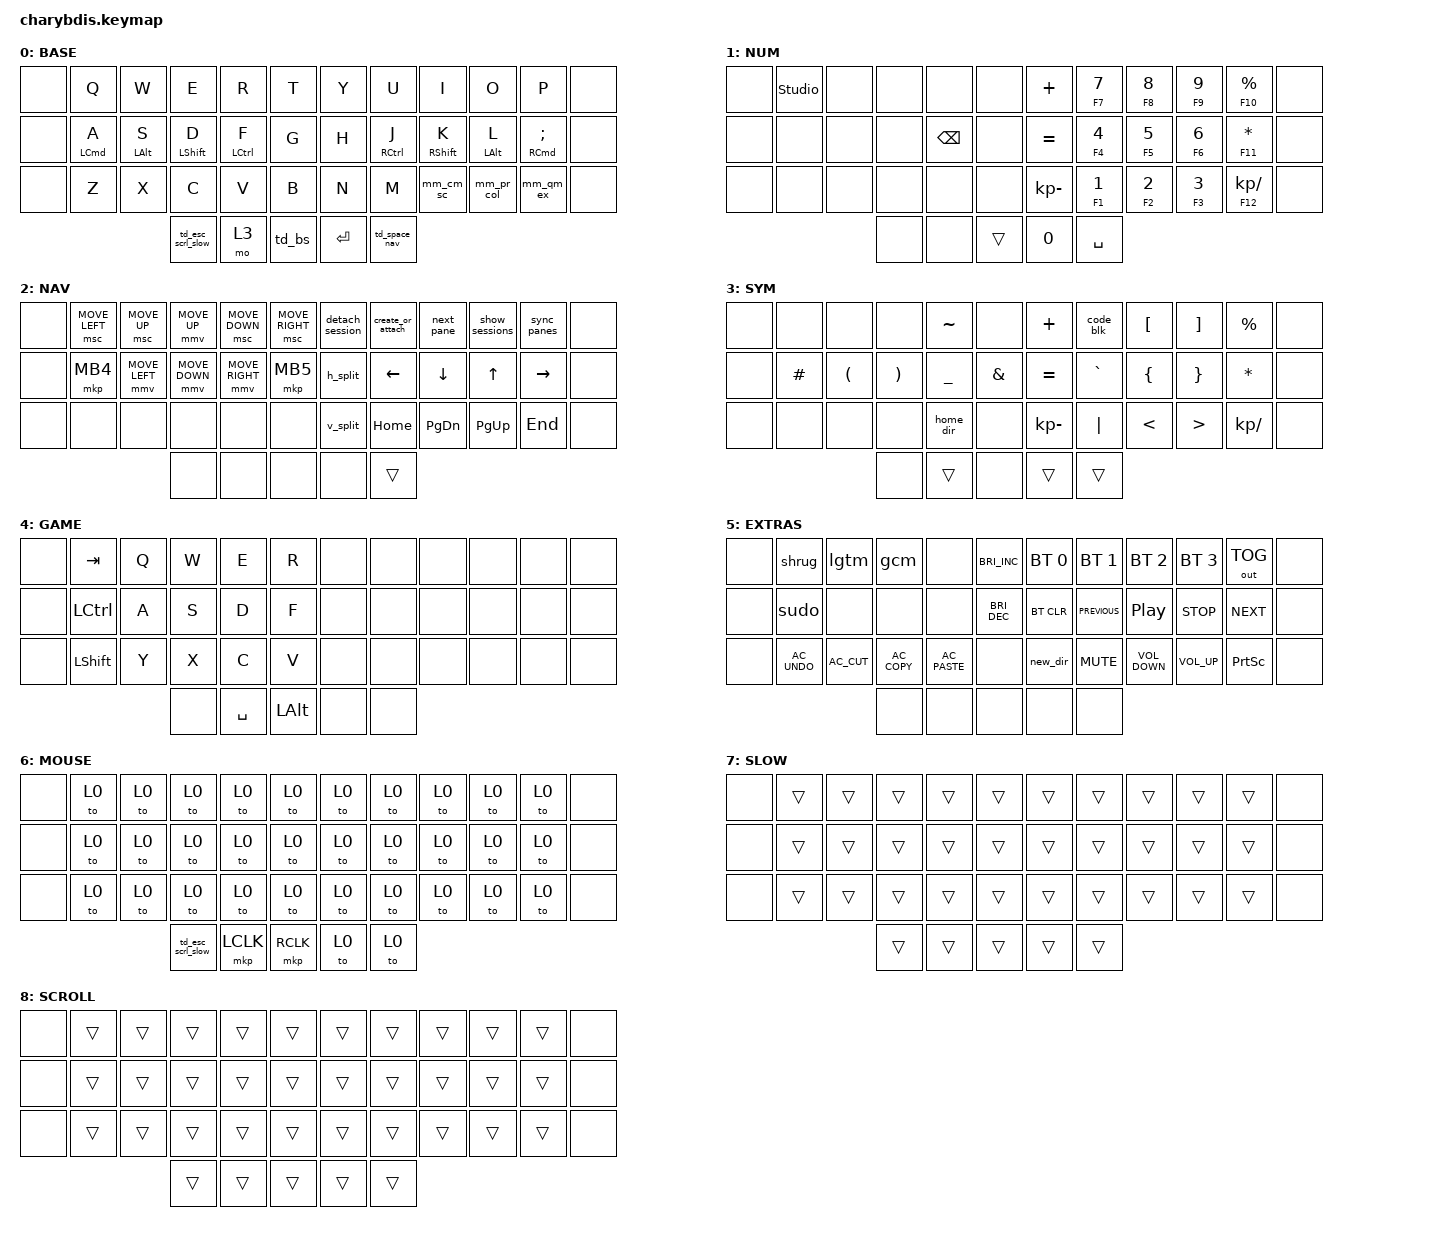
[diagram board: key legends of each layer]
/* upstream bindings and behaviors */

#include <dt-bindings/zmk/mouse.h>
#include <behaviors/mouse_keys.dtsi>
#include <behaviors.dtsi>
#include <dt-bindings/zmk/bt.h>
#include <dt-bindings/zmk/keys.h>
#include <dt-bindings/zmk/outputs.h>
#include <dt-bindings/zmk/pointing.h>

#define KEYS_L 0 1 2 3 4 5 12 13 14 15 16 17 24 25 26 27 28 29 36 37 38 19 20 21 22  // Left-hand keys.
#define KEYS_R 6 7 8 9 10 11 18 19 20 21 22 23 30 31 32 33 34 35 39 40 16 15 14 13  // Right-hand keys.
#define THUMBS 36 37 38 39 40  // Thumb keys.

/ {
    /* --- KEYMAP CONFIG --- */
    // ╭──────┬──────┬──────┬──────┬──────┬──────╮  ╭──────┬──────┬──────┬──────┬──────┬──────╮
    //    00     01     02     03    04      05        06     07     08     09     10     11
    // ├──────┼──────┼──────┼──────┼──────┼──────┤  ├──────┼──────┼──────┼──────┼──────┼──────┤
    //    12     13     14     15    16      17        18     19     20     21     22     23
    // ├──────┼──────┼──────┼──────┼──────┼──────┤  ├──────┼──────┼──────┼──────┼──────┼──────┤
    //    24     25     26     27    28      29        30     31     32     33     34     35
    // ╰──────┴──────┴──────┼──────┼──────┼──────┤  ├──────┼──────┼──────┴──────┴──────┴──────╯
    //                         36     37     38        39     40
    //                      ╰──────┴──────┴──────╯  ╰──────┴──────╯
    // #define BASE    0
    // #define NUM     1
    // #define NAV     2
    // #define SYM     3
    // #define GAME    4
    // #define EXTRAS  5
    // #define MOUSE   6
    // #define SLOW    7
    // #define SCROLL  8

    combos {
        compatible = "zmk,combos";

        CapsWord {
            bindings = <&caps_word>;
            key-positions = <17 18>;
            layers = <0>;
        };

        combo_BASE_or_EXTRAS {
            bindings = <&td_bore>;
            key-positions = <38 39>;
        };

        combo_left_click {
            bindings = <&mkp LCLK>;
            key-positions = <25 26>;
        };

        combo_middle_click {
            bindings = <&mkp MCLK>;
            key-positions = <26 27>;
        };

        combo_right_click {
            bindings = <&mkp RCLK>;
            key-positions = <27 28>;
        };

        combo_mouse_layer {
            bindings = <&to 6>;
            key-positions = <13 22>;
        };
    };

    behaviors {
        ht_num_func: homerow_mod {
            compatible = "zmk,behavior-hold-tap";
            #binding-cells = <2>;
            flavor = "tap-preferred";
            tapping-term-ms = <175>; // triggers the hold behavior when the tapping-term-ms has expired
            quick-tap-ms = <150>; // If you press a tapped hold-tap again within quick-tap-ms milliseconds of the first press, it will always trigger the tap behavior.
            require-prior-idle-ms = <185>; // like quick-tap-ms however it will apply for any non-modifier key pressed before it
            bindings = <&kp>, <&kp>;

            // hold, tap
        };

        // Left-hand HRM

        ht_left: left_side_homerow_mod {
            compatible = "zmk,behavior-hold-tap";
            #binding-cells = <2>;
            flavor = "balanced";
            tapping-term-ms = <280>;
            quick-tap-ms = <175>;
            require-prior-idle-ms = <150>;
            bindings = <&kp>, <&kp>;

            hold-trigger-key-positions = <KEYS_R THUMBS>;
            hold-trigger-on-release;
        };

        // Right-hand HRM

        ht_right: right_side_homerow_mod {
            compatible = "zmk,behavior-hold-tap";
            #binding-cells = <2>;
            flavor = "balanced";
            tapping-term-ms = <280>;
            quick-tap-ms = <175>;
            require-prior-idle-ms = <125>;
            bindings = <&kp>, <&kp>;

            hold-trigger-key-positions = <KEYS_L THUMBS>;
            hold-trigger-on-release;
        };

        td_esc_scrl_slow: td_esc_scrl_slow {
            compatible = "zmk,behavior-tap-dance";
            #binding-cells = <0>;
            tapping-term-ms = <125>;
            bindings = <&lt 8 ESC>, <&mo 7>;

            // hold, tap, double_tap
        };

        td_space_nav: td_space {
            compatible = "zmk,behavior-tap-dance";
            #binding-cells = <0>;
            tapping-term-ms = <120>;
            bindings = <&lt 2 SPACE>, <&kp SPACE>;

            // hold, tap, double_tap
        };

        td_bs: td_bs {
            compatible = "zmk,behavior-tap-dance";
            #binding-cells = <0>;
            tapping-term-ms = <115>;
            bindings = <&lt 1 BACKSPACE>, <&kp BACKSPACE>;

            // hold, tap, double_tap
        };

        httl: ht_two_layers {
            compatible = "zmk,behavior-hold-tap";
            bindings = <&mo>, <&to>;

            #binding-cells = <2>;
            flavor = "balanced";
            tapping-term-ms = <125>;
        };

        td_layers: td_layer_swap {
            compatible = "zmk,behavior-tap-dance";
            #binding-cells = <0>;
            bindings = <&to 0>, <&to 4>;

            // tap, double_tap
        };

        td_clk_scrl: td_click_or_scroll {
            compatible = "zmk,behavior-tap-dance";
            #binding-cells = <0>;
            tapping-term-ms = <250>;
            bindings = <&mkp RCLK>, <&mo 8>;

            // tap/hold, double_tap
        };

        td_bore: BASE_or_EXTRA {
            compatible = "zmk,behavior-tap-dance";
            #binding-cells = <0>;
            bindings = <&mo 5>, <&to 0>;
        };

        mm_qm_ex: question_exclamation {
            compatible = "zmk,behavior-mod-morph";
            #binding-cells = <0>;
            bindings = <&kp QUESTION>, <&kp EXCLAMATION>;

            mods = <(MOD_LSFT | MOD_RSFT)>;
        };

        mm_pr_col: period_colon {
            compatible = "zmk,behavior-mod-morph";
            #binding-cells = <0>;
            bindings = <&kp PERIOD>, <&kp COLON>;

            mods = <(MOD_LSFT | MOD_RSFT)>;
        };

        mm_cm_sc: comma_semi_colon {
            compatible = "zmk,behavior-mod-morph";
            #binding-cells = <0>;
            bindings = <&kp COMMA>, <&kp SEMICOLON>;

            mods = <(MOD_LSFT | MOD_RSFT)>;
        };
    };

    macros {
        v_split: v_split {
            compatible = "zmk,behavior-macro";
            #binding-cells = <0>;
            bindings = <&macro_tap>, <&kp LC(B) &kp PERCENT>;
        };

        h_split: h_split {
            compatible = "zmk,behavior-macro";
            #binding-cells = <0>;
            bindings = <&macro_tap>, <&kp LC(B) &kp DQT>;
        };

        detach_session: detach_session {
            compatible = "zmk,behavior-macro";
            #binding-cells = <0>;
            bindings = <&kp LC(B) &kp D>;
        };

        sync_panes: sync_panes {
            compatible = "zmk,behavior-macro";
            #binding-cells = <0>;
            bindings = <&kp LC(B) &kp SPACE>;
        };

        next_pane: next_pane {
            compatible = "zmk,behavior-macro";
            #binding-cells = <0>;
            bindings = <&kp LC(B) &kp O>;
        };

        show_sessions: show_sessions {
            compatible = "zmk,behavior-macro";
            #binding-cells = <0>;
            bindings = <&kp LC(B) &kp S>;
        };

        create_or_attach: create_or_attach {
            compatible = "zmk,behavior-macro";
            #binding-cells = <0>;
            bindings =
                <&macro_tap>,
                <&kp T>,
                <&macro_tap>,
                <&kp M>,
                <&macro_tap>,
                <&kp U>,
                <&macro_tap>,
                <&kp X>,
                <&macro_tap>,
                <&kp SPC>,
                <&macro_tap>,
                <&kp N>,
                <&macro_tap>,
                <&kp E>,
                <&macro_tap>,
                <&kp W>,
                <&macro_tap>,
                <&kp MINUS>,
                <&macro_tap>,
                <&kp S>,
                <&macro_tap>,
                <&kp E>,
                <&macro_tap>,
                <&kp S>,
                <&macro_tap>,
                <&kp S>,
                <&macro_tap>,
                <&kp I>,
                <&macro_tap>,
                <&kp O>,
                <&macro_tap>,
                <&kp N>,
                <&macro_tap>,
                <&kp SPC>,
                <&macro_tap>,
                <&kp MINUS>,
                <&macro_tap>,
                <&kp A>,
                <&macro_tap>,
                <&kp SPC>,
                <&macro_tap>,
                <&kp MINUS>,
                <&macro_tap>,
                <&kp S>,
                <&macro_tap>,
                <&kp SPC>;
        };

        shrug: shrug {
            compatible = "zmk,behavior-macro";
            #binding-cells = <0>;
            wait-ms = <10>;
            tap-ms = <20>;
            bindings =
                <&macro_press>,
                <&kp LCTRL &kp LSHFT>,
                <&macro_tap>,
                <&kp U>,
                <&macro_release>,
                <&kp LCTRL &kp LSHFT>,
                <&macro_tap>,
                <&kp N0 &kp N0 &kp A &kp F &kp SPC>,
                <&macro_tap>,
                <&kp BACKSLASH>,
                <&macro_tap>,
                <&kp UNDER>,
                <&macro_tap>,
                <&kp LPAR>,
                <&macro_press>,
                <&kp LCTRL &kp LSHFT>,
                <&macro_tap>,
                <&kp U>,
                <&macro_release>,
                <&kp LCTRL &kp LSHFT>,
                <&macro_tap>,
                <&kp N3 &kp N0 &kp C &kp N4 &kp SPC>,
                <&macro_tap>,
                <&kp RPAR>,
                <&macro_tap>,
                <&kp UNDER>,
                <&macro_tap>,
                <&kp FSLH>,
                <&macro_press>,
                <&kp LCTRL &kp LSHFT>,
                <&macro_tap>,
                <&kp U>,
                <&macro_release>,
                <&kp LCTRL &kp LSHFT>,
                <&macro_tap>,
                <&kp N0 &kp N0 &kp A &kp F &kp SPC>;
        };

        gcm: gcm {
            compatible = "zmk,behavior-macro";
            #binding-cells = <0>;
            wait-ms = <10>;
            tap-ms = <20>;
            bindings =
                <&macro_tap>,
                <&kp G &kp I &kp T &kp SPACE &kp C &kp O &kp M &kp M &kp I &kp T &kp SPACE &kp MINUS &kp A &kp M &kp SPACE &kp DQT &kp LS(W) &kp LS(I) &kp LS(P) &kp DQT>;
        };

        lgtm: lgtm {
            compatible = "zmk,behavior-macro";
            #binding-cells = <0>;
            wait-ms = <10>;
            tap-ms = <20>;
            bindings =
                <&macro_tap>,
                <&kp LS(L) &kp LS(G) &kp LS(T) &kp LS(M) &kp SPACE &kp MINUS &kp SPACE &kp LS(A) &kp P &kp P &kp R &kp O &kp V &kp E &kp D &kp EXCL>;
        };

        sudo: sudo {
            compatible = "zmk,behavior-macro";
            #binding-cells = <0>;
            wait-ms = <10>;
            tap-ms = <20>;
            bindings =
                <&macro_tap>,
                <&kp S &kp U &kp D &kp O>,
                <&macro_tap>,
                <&kp SPACE>,
                <&macro_tap>,
                <&kp EXCL &kp EXCL>,
                <&macro_tap>,
                <&kp RET>;
        };

        clip_hist: clip_hist {
            compatible = "zmk,behavior-macro";
            #binding-cells = <0>;
            bindings =
                <&macro_press>,
                <&kp LGUI>,
                <&macro_tap>,
                <&kp V>,
                <&macro_release>,
                <&kp LGUI>;
        };

        new_dir: new_dir {
            compatible = "zmk,behavior-macro";
            #binding-cells = <0>;
            bindings =
                <&macro_press>,
                <&kp LCTRL &kp LSHFT>,
                <&macro_tap>,
                <&kp N>,
                <&macro_release>,
                <&kp LCTRL &kp LSHFT>;
        };

        code_blk: code_blk {
            compatible = "zmk,behavior-macro";
            #binding-cells = <0>;
            bindings =
                <&macro_tap>,
                <&kp GRAVE>,
                <&macro_tap>,
                <&kp GRAVE>,
                <&macro_tap>,
                <&kp GRAVE>;
        };

        home_dir: home_dir {
            compatible = "zmk,behavior-macro";
            #binding-cells = <0>;
            bindings = <&macro_tap>, <&kp TILDE>, <&macro_tap>, <&kp FSLH>;
        };
    };

    keymap {
        compatible = "zmk,keymap";

        BASE {
            bindings = <
&none            &kp Q            &kp W            &kp E              &kp R             &kp T     &kp Y      &kp U              &kp I              &kp O             &kp P                     &none
&none            &ht_left LCMD A  &ht_left LALT S  &ht_left LSHFT D   &ht_left LCTRL F  &kp G     &kp H      &ht_right RCTRL J  &ht_right RSHFT K  &ht_right LALT L  &ht_right RCMD SEMICOLON  &none
&none            &kp Z            &kp X            &kp C              &kp V             &kp B     &kp N      &kp M              &mm_cm_sc          &mm_pr_col        &mm_qm_ex                 &none
                                                   &td_esc_scrl_slow  &mo 3             &td_bs    &kp ENTER  &td_space_nav
            >;
        };

        NUM {
            bindings = <
&none   &studio_unlock  &none  &none  &none          &none     &kp PLUS      &ht_num_func F7 N7  &ht_num_func F8 N8  &ht_num_func F9 N9  &ht_num_func F10 PRCNT     &none
&none   &none           &none  &none  &kp BACKSPACE  &none     &kp EQUAL     &ht_num_func F4 N4  &ht_num_func F5 N5  &ht_num_func F6 N6  &ht_num_func F11 ASTRK     &none
&none   &none           &none  &none  &none          &none     &kp KP_MINUS  &ht_num_func F1 N1  &ht_num_func F2 N2  &ht_num_func F3 N3  &ht_num_func F12 KP_SLASH  &none
                               &none  &none          &trans    &kp N0        &kp SPACE
            >;
        };

        NAV {
            bindings = <
&none    &msc MOVE_LEFT  &msc MOVE_UP    &mmv MOVE_UP    &msc MOVE_DOWN   &msc MOVE_RIGHT    &detach_session  &create_or_attach  &next_pane  &show_sessions  &sync_panes      &none
&none    &mkp MB4        &mmv MOVE_LEFT  &mmv MOVE_DOWN  &mmv MOVE_RIGHT  &mkp MB5           &h_split         &kp LEFT_ARROW     &kp DOWN    &kp UP          &kp RIGHT_ARROW  &none
&none    &none           &none           &none           &none            &none              &v_split         &kp HOME           &kp PG_DN   &kp PG_UP       &kp END          &none
                                         &none           &none            &none              &none            &trans
            >;
        };

        SYM {
            bindings = <
&none      &none     &none     &none     &kp TILDE  &none        &kp PLUS      &code_blk  &kp LBKT  &kp RBKT  &kp PRCNT     &none
&none      &kp HASH  &kp LPAR  &kp RPAR  &kp UNDER  &kp AMPS     &kp EQUAL     &kp GRAVE  &kp LBRC  &kp RBRC  &kp ASTRK     &none
&none      &none     &none     &none     &home_dir  &none        &kp KP_MINUS  &kp PIPE   &kp LT    &kp GT    &kp KP_SLASH  &none
                               &none     &trans     &none        &trans        &trans
            >;
        };

        GAME {
            bindings = <
&none    &kp TAB    &kp Q  &kp W  &kp E      &kp R           &none  &none  &none  &none  &none  &none
&none    &kp LCTRL  &kp A  &kp S  &kp D      &kp F           &none  &none  &none  &none  &none  &none
&none    &kp LSHFT  &kp Y  &kp X  &kp C      &kp V           &none  &none  &none  &none  &none  &none
                          &none  &kp SPACE  &kp LEFT_ALT    &none  &none
            >;
        };

        EXTRAS {
            bindings = <
&none            &shrug         &lgtm         &gcm           &none           &kp C_BRIGHTNESS_INC    &bt BT_SEL 0  &bt BT_SEL 1    &bt BT_SEL 2       &bt BT_SEL 3     &out OUT_TOG     &none
&none            &sudo          &none         &none          &none           &kp C_BRIGHTNESS_DEC    &bt BT_CLR    &kp C_PREVIOUS  &kp C_PLAY_PAUSE   &kp C_STOP       &kp C_NEXT       &none
&none            &kp C_AC_UNDO  &kp C_AC_CUT  &kp C_AC_COPY  &kp C_AC_PASTE  &none                   &new_dir      &kp K_MUTE      &kp C_VOLUME_DOWN  &kp C_VOLUME_UP  &kp PRINTSCREEN  &none
                                              &none          &none           &none                   &none         &none
            >;
        };

        MOUSE {
            bindings = <
&none  &to 0  &to 0  &to 0      &to 0        &to 0  &to 0  &to 0  &to 0  &to 0  &to 0  &none
&none  &to 0  &to 0  &to 0      &to 0        &to 0  &to 0  &to 0  &to 0  &to 0  &to 0  &none
&none  &to 0  &to 0  &to 0      &to 0        &to 0  &to 0  &to 0  &to 0  &to 0  &to 0  &none
              &td_esc_scrl_slow  &mkp LCLK  &mkp RCLK    &to 0  &to 0
            >;
        };

        SLOW {
            bindings = <
&none  &trans  &trans  &trans  &trans  &trans    &trans  &trans  &trans  &trans  &trans  &none
&none  &trans  &trans  &trans  &trans  &trans    &trans  &trans  &trans  &trans  &trans  &none
&none  &trans  &trans  &trans  &trans  &trans    &trans  &trans  &trans  &trans  &trans  &none
                &trans  &trans  &trans    &trans  &trans
            >;
        };

        SCROLL {
            bindings = <
&none  &trans  &trans  &trans  &trans  &trans    &trans  &trans  &trans  &trans  &trans  &none
&none  &trans  &trans  &trans  &trans  &trans    &trans  &trans  &trans  &trans  &trans  &none
&none  &trans  &trans  &trans  &trans  &trans    &trans  &trans  &trans  &trans  &trans  &none
                &trans  &trans  &trans    &trans  &trans
            >;
        };
    };
};
